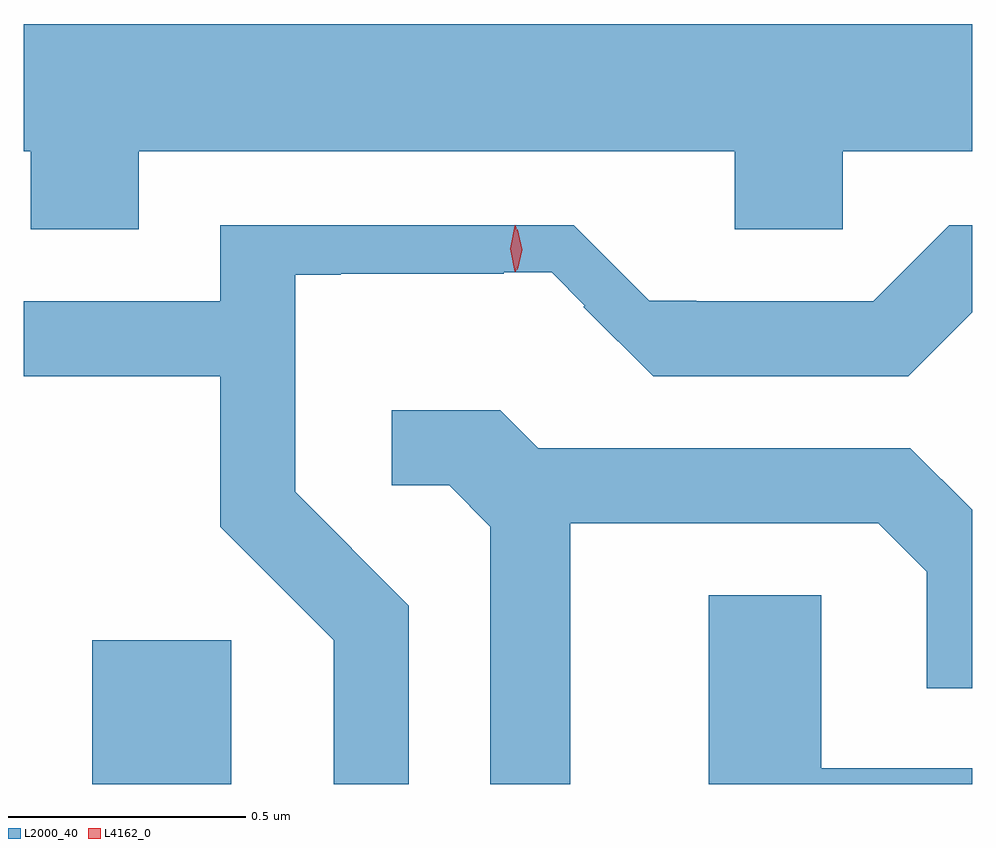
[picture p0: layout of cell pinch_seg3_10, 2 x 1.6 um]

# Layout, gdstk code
import gdstk
lib = gdstk.Library(unit=1e-6, precision=1e-09)
def R(c, l, rs):  # rectangles x0, y0, x1, y1
    for r in rs: c.add(gdstk.rectangle(r[:2], r[2:], *l))
def P(c, l, *ps):  # polygons
    for p in ps: c.add(gdstk.Polygon(p, *l))
L2000_40 = (2000, 40)
L4162_0 = (4162, 0)

pinch_seg3_10 = lib.new_cell('pinch_seg3_10')
R(pinch_seg3_10, L2000_40, [(855.701,1242.341,855.994,1242.644)])
P(pinch_seg3_10, L2000_40, [(855.799,1243.676),(857.056,1243.676),(857.056,1243.511),(857.284,1243.511),(857.284,1243.676),(857.557,1243.676),(857.557,1243.944),(855.557,1243.944),(855.557,1243.676),(855.571,1243.676),(855.571,1243.511),(855.799,1243.511)],
  [(856.369,1242.717),(856.129,1242.957),(856.129,1243.415),(856.225,1243.415),(856.225,1243.417),(856.569,1243.417),(856.569,1243.42),(856.67,1243.42),(856.74,1243.35),(856.737,1243.348),(856.884,1243.201),(857.422,1243.201),(857.557,1243.336),(857.557,1243.519),(857.509,1243.519),(857.349,1243.359),(856.975,1243.359),(856.975,1243.36),(856.876,1243.36),(856.717,1243.519),(855.971,1243.519),(855.971,1243.359),(855.557,1243.359),(855.557,1243.201),(855.971,1243.201),(855.971,1242.884),(856.211,1242.644),(856.211,1242.341),(856.369,1242.341)],
  [(856.709,1242.891),(857.359,1242.891),(857.461,1242.789),(857.461,1242.543),(857.557,1242.543),(857.557,1242.919),(857.427,1243.049),(856.642,1243.049),(856.562,1243.129),(856.333,1243.129),(856.333,1242.971),(856.454,1242.971),(856.541,1242.884),(856.541,1242.341),(856.709,1242.341)],
  [(857.557,1242.374),(857.239,1242.374),(857.239,1242.739),(857.001,1242.739),(857.001,1242.341),(857.557,1242.341)])
P(pinch_seg3_10, L4162_0, [(856.592,1243.421),(856.583,1243.47),(856.592,1243.518),(856.593,1243.519),(856.594,1243.518),(856.603,1243.47),(856.594,1243.421),(856.593,1243.421)],
  [(856.598,1243.426),(856.598,1243.427),(856.588,1243.468),(856.598,1243.51),(856.598,1243.511),(856.599,1243.51),(856.608,1243.468),(856.599,1243.427)])

lib.write_gds('pinch_seg3_10.gds')
